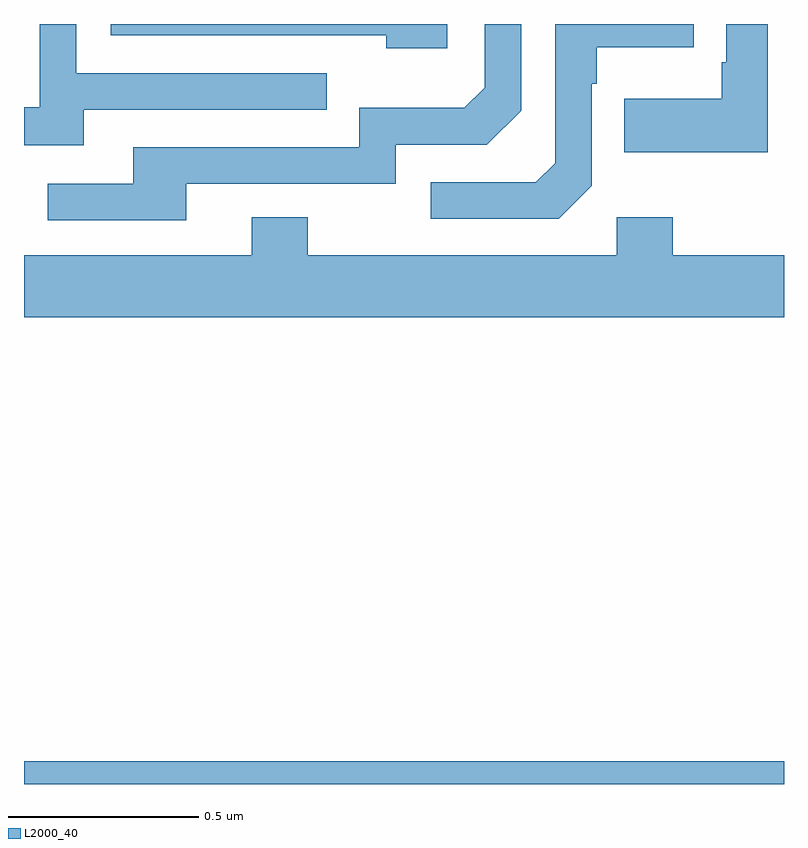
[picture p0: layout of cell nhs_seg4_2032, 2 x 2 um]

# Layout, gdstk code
import gdstk
lib = gdstk.Library(unit=1e-6, precision=1e-09)
def R(c, l, rs):  # rectangles x0, y0, x1, y1
    for r in rs: c.add(gdstk.rectangle(r[:2], r[2:], *l))
def P(c, l, *ps):  # polygons
    for p in ps: c.add(gdstk.Polygon(p, *l))
L2000_40 = (2000, 40)

nhs_seg4_2032 = lib.new_cell('nhs_seg4_2032')
R(nhs_seg4_2032, L2000_40, [(135,820.9,137,820.96)])
P(nhs_seg4_2032, L2000_40, [(136.494,822.474),(136.494,822.743),(136.507,822.743),(136.507,822.839),(136.763,822.839),(136.763,822.9),(136.398,822.9),(136.398,822.534),(136.347,822.483),(136.071,822.483),(136.071,822.387),(136.407,822.387)],
  [(136.957,822.9),(136.848,822.9),(136.848,822.799),(136.836,822.799),(136.836,822.703),(136.579,822.703),(136.579,822.563),(136.957,822.563)],
  [(135.427,822.48),(135.978,822.48),(135.978,822.582),(136.218,822.582),(136.308,822.672),(136.308,822.9),(136.212,822.9),(136.212,822.732),(136.159,822.679),(135.882,822.679),(135.882,822.576),(135.287,822.576),(135.287,822.48),(135.063,822.48),(135.063,822.384),(135.427,822.384)],
  [(135.157,822.675),(135.797,822.675),(135.797,822.771),(135.138,822.771),(135.138,822.9),(135.042,822.9),(135.042,822.681),(135,822.681),(135,822.581),(135.157,822.581)],
  [(136.114,822.9),(135.228,822.9),(135.228,822.87),(135.953,822.87),(135.953,822.836),(136.114,822.836)],
  [(137,822.292),(136.707,822.292),(136.707,822.391),(136.56,822.391),(136.56,822.292),(135.747,822.292),(135.747,822.391),(135.599,822.391),(135.599,822.292),(135,822.292),(135,822.128),(137,822.128)])

lib.write_gds('nhs_seg4_2032.gds')
